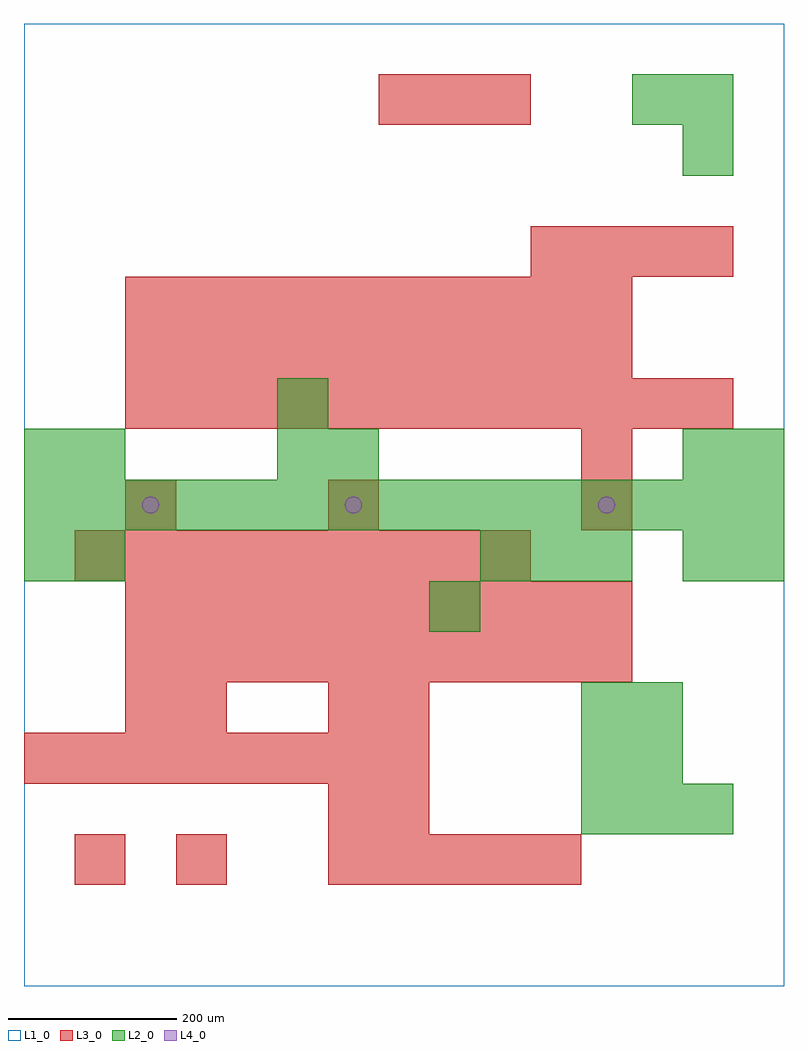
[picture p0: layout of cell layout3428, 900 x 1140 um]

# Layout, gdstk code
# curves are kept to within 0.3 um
import gdstk
lib = gdstk.Library(unit=1e-6, precision=1e-09)
def R(c, l, rs):  # rectangles x0, y0, x1, y1
    for r in rs: c.add(gdstk.rectangle(r[:2], r[2:], *l))
def A(c, l, x, y, w, h, nx, ny, dx, dy):  # array of equal rectangles
    R(c, l, [(x+i*dx, y+j*dy, x+i*dx+w, y+j*dy+h) for i in range(nx) for j in range(ny)])
def P(c, l, *ps):  # polygons
    for p in ps: c.add(gdstk.Polygon(p, *l))
L1_0 = (1, 0)
L2_0 = (2, 0)
L3_0 = (3, 0)
L4_0 = (4, 0)

layout3428 = lib.new_cell('layout3428')
R(layout3428, L1_0, [(0,0,900,1140)])
A(layout3428, L2_0, 660, 180, 60, 60, 3, 1, 60, 0)
A(layout3428, L2_0, 540, 480, 60, 60, 3, 1, 60, 0)
A(layout3428, L2_0, 0, 540, 60, 60, 15, 1, 60, 0)
R(layout3428, L2_0, [(660,240,720,300), (720,240,780,300), (660,300,720,360), (720,300,780,360), (480,420,540,480), (0,480,60,540), (60,480,120,540), (780,480,840,540), (840,480,900,540), (0,600,60,660), (60,600,120,660), (300,600,360,660), (360,600,420,660), (780,600,840,660), (840,600,900,660), (300,660,360,720), (780,960,840,1020), (720,1020,780,1080), (780,1020,840,1080)])
A(layout3428, L3_0, 360, 120, 60, 60, 5, 1, 60, 0)
A(layout3428, L3_0, 0, 240, 60, 60, 8, 1, 60, 0)
A(layout3428, L3_0, 120, 360, 60, 60, 10, 2, 60, 60)
A(layout3428, L3_0, 60, 480, 60, 60, 9, 1, 60, 0)
A(layout3428, L3_0, 120, 660, 60, 60, 12, 1, 60, 0)
A(layout3428, L3_0, 120, 720, 60, 60, 10, 2, 60, 60)
A(layout3428, L3_0, 600, 840, 60, 60, 4, 1, 60, 0)
A(layout3428, L3_0, 420, 1020, 60, 60, 3, 1, 60, 0)
R(layout3428, L3_0, [(60,120,120,180), (180,120,240,180), (360,180,420,240), (420,180,480,240), (120,300,180,360), (180,300,240,360), (360,300,420,360), (420,300,480,360), (120,540,180,600), (360,540,420,600), (660,540,720,600), (660,600,720,660)])
P(layout3428, L4_0, [(160,570),(159.239,573.827),(157.071,577.071),(153.827,579.239),(150,580),(146.173,579.239),(142.929,577.071),(140.761,573.827),(140,570),(140.761,566.173),(142.929,562.929),(146.173,560.761),(150,560),(153.827,560.761),(157.071,562.929),(159.239,566.173)],
  [(400,570),(399.239,573.827),(397.071,577.071),(393.827,579.239),(390,580),(386.173,579.239),(382.929,577.071),(380.761,573.827),(380,570),(380.761,566.173),(382.929,562.929),(386.173,560.761),(390,560),(393.827,560.761),(397.071,562.929),(399.239,566.173)],
  [(700,570),(699.239,573.827),(697.071,577.071),(693.827,579.239),(690,580),(686.173,579.239),(682.929,577.071),(680.761,573.827),(680,570),(680.761,566.173),(682.929,562.929),(686.173,560.761),(690,560),(693.827,560.761),(697.071,562.929),(699.239,566.173)])

lib.write_gds('layout3428.gds')
